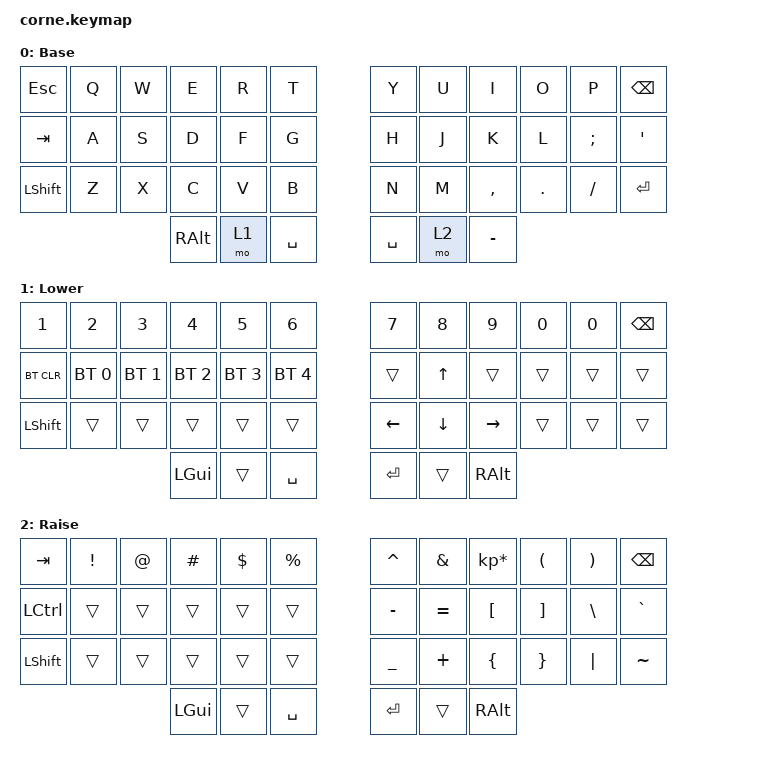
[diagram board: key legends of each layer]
/*
 * Copyright (c) 2020 The ZMK Contributors
 *
 * SPDX-License-Identifier: MIT
 */

#include <behaviors.dtsi>
#include <dt-bindings/zmk/bt.h>
#include <dt-bindings/zmk/keys.h>

/ {
    keymap {
        compatible = "zmk,keymap";

        default_layer {
            // -----------------------------------------------------------------------------------------
            // |  TAB |  Q  |  W  |  E  |  R  |  T  |   |  Y  |  U   |  I  |  O  |  P  | BKSP |
            // | CTRL |  A  |  S  |  D  |  F  |  G  |   |  H  |  J   |  K  |  L  |  ;  |  '   |
            // | SHFT |  Z  |  X  |  C  |  V  |  B  |   |  N  |  M   |  ,  |  .  |  /  | ESC  |
            //                    | GUI | LWR | SPC |   | ENT | RSE  | ALT |

            display-name = "Base";
            bindings = <
&kp ESCAPE      &kp Q  &kp W  &kp E          &kp R  &kp T        &kp Y      &kp U  &kp I      &kp O    &kp P     &kp BSPC
&kp TAB         &kp A  &kp S  &kp D          &kp F  &kp G        &kp H      &kp J  &kp K      &kp L    &kp SEMI  &kp SQT
&kp LEFT_SHIFT  &kp Z  &kp X  &kp C          &kp V  &kp B        &kp N      &kp M  &kp COMMA  &kp DOT  &kp FSLH  &kp ENTER
                              &kp RIGHT_ALT  &mo 1  &kp SPACE    &kp SPACE  &mo 2  &kp MINUS
            >;
        };

        lower_layer {
            // -----------------------------------------------------------------------------------------
            // |  TAB |  1  |  2  |  3  |  4  |  5  |   |  6  |  7  |  8  |  9  |  0  | BKSP |
            // | BTCLR| BT1 | BT2 | BT3 | BT4 | BT5 |   | LFT | DWN |  UP | RGT |     |      |
            // | SHFT |     |     |     |     |     |   |     |     |     |     |     |      |
            //                    | GUI |     | SPC |   | ENT |     | ALT |

            display-name = "Lower";
            bindings = <
&kp NUMBER_1  &kp NUMBER_2  &kp NUMBER_3  &kp NUMBER_4  &kp NUMBER_5  &kp NUMBER_6    &kp N7          &kp N8          &kp N9           &kp N0  &kp N0  &kp BSPC
&bt BT_CLR    &bt BT_SEL 0  &bt BT_SEL 1  &bt BT_SEL 2  &bt BT_SEL 3  &bt BT_SEL 4    &trans          &kp UP_ARROW    &trans           &trans  &trans  &trans
&kp LSHFT     &trans        &trans        &trans        &trans        &trans          &kp LEFT_ARROW  &kp DOWN_ARROW  &kp RIGHT_ARROW  &trans  &trans  &trans
                                          &kp LGUI      &trans        &kp SPACE       &kp RET         &trans          &kp RALT
            >;
        };

        raise_layer {
            // -----------------------------------------------------------------------------------------
            // |  TAB |  !  |  @  |  #  |  $  |  %  |   |  ^  |  &  |  *  |  (  |  )  | BKSP |
            // | CTRL |     |     |     |     |     |   |  -  |  =  |  [  |  ]  |  \  |  `   |
            // | SHFT |     |     |     |     |     |   |  _  |  +  |  {  |  }  | "|" |  ~   |
            //                    | GUI |     | SPC |   | ENT |     | ALT |

            display-name = "Raise";
            bindings = <
&kp TAB    &kp EXCL  &kp AT  &kp HASH  &kp DLLR  &kp PRCNT    &kp CARET  &kp AMPS   &kp KP_MULTIPLY  &kp LPAR  &kp RPAR  &kp BSPC
&kp LCTRL  &trans    &trans  &trans    &trans    &trans       &kp MINUS  &kp EQUAL  &kp LBKT         &kp RBKT  &kp BSLH  &kp GRAVE
&kp LSHFT  &trans    &trans  &trans    &trans    &trans       &kp UNDER  &kp PLUS   &kp LBRC         &kp RBRC  &kp PIPE  &kp TILDE
                             &kp LGUI  &trans    &kp SPACE    &kp RET    &trans     &kp RALT
            >;
        };

        extra_1 { status = "reserved"; };

        extra_2 { status = "reserved"; };

        extra_3 { status = "reserved"; };
    };
};
